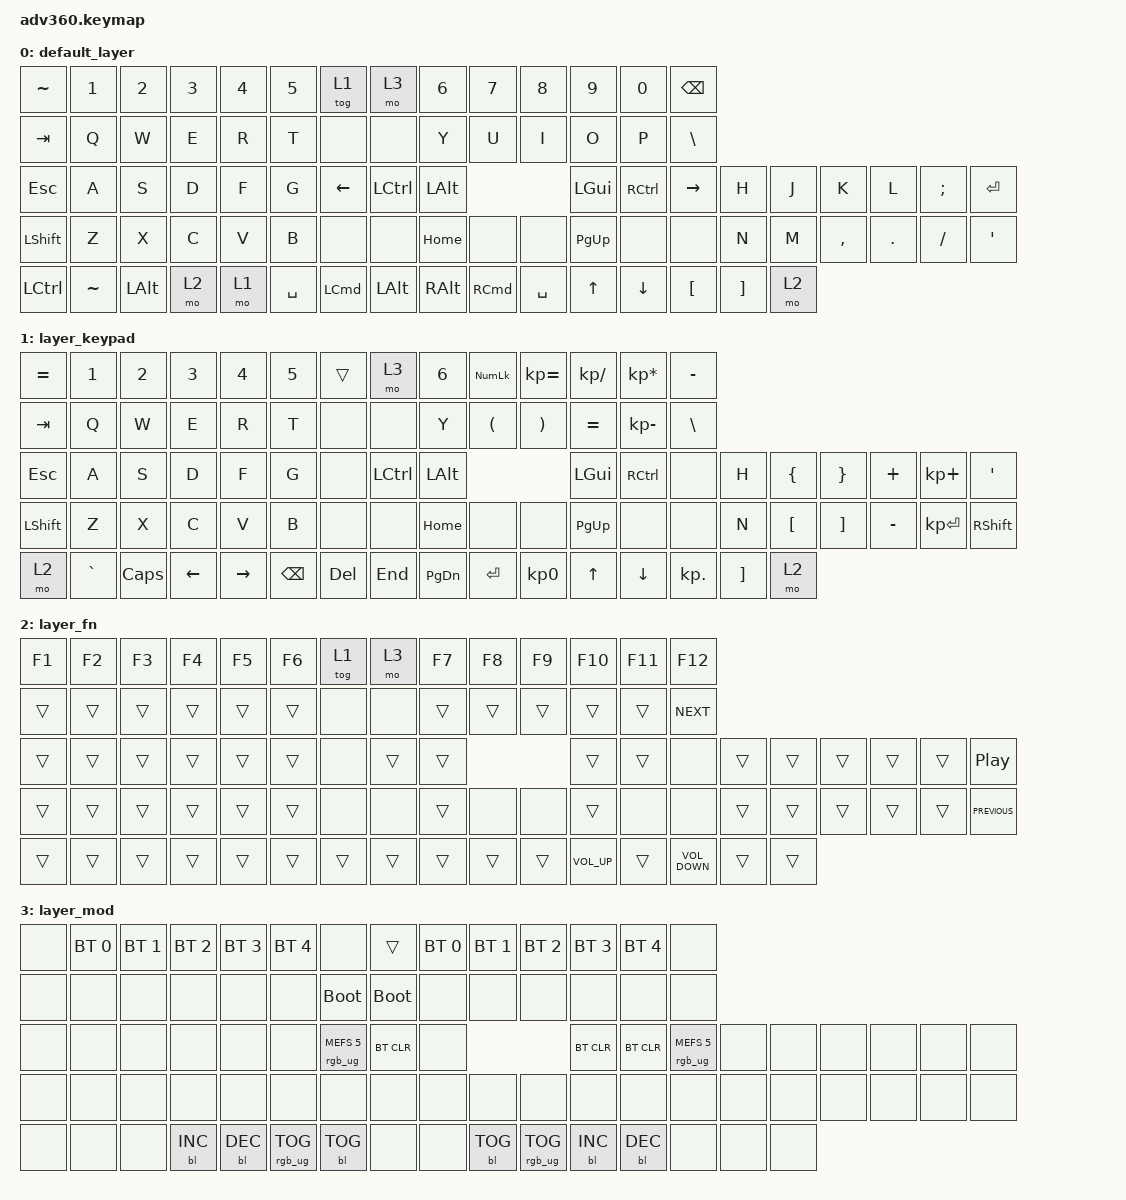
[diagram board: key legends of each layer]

/*
 * Copyright (c) 2020 The ZMK Contributors
 *
 * SPDX-License-Identifier: MIT
 */


/* THIS FILE WAS GENERATED!
 *
 * This file was generated automatically. You may or may not want to
 * edit it directly.
 */

#include <behaviors.dtsi>
#include <dt-bindings/zmk/keys.h>
#include <dt-bindings/zmk/bt.h>
#include <dt-bindings/zmk/rgb.h>
#include <dt-bindings/zmk/backlight.h>

/ {
    keymap {
        compatible = "zmk,keymap";


        default_layer {
            bindings = <
 &kp TILDE     &kp N1        &kp N2  &kp N3  &kp N4     &kp N5                      &tog 1         &mo 3         &kp N6             &kp N7     &kp N8     &kp N9     &kp N0    &kp BACKSPACE
   &kp TAB      &kp Q         &kp W   &kp E   &kp R      &kp T                       &none         &none          &kp Y              &kp U      &kp I      &kp O      &kp P         &kp BSLH
   &kp ESC      &kp A         &kp S   &kp D   &kp F      &kp G              &kp LEFT_ARROW     &kp LCTRL       &kp LALT                                 &kp LGUI  &kp RCTRL  &kp RIGHT_ARROW     &kp H   &kp J      &kp K    &kp L  &kp SEMI         &kp ENTER
 &kp LSHFT      &kp Z         &kp X   &kp C   &kp V      &kp B                       &none         &none       &kp HOME              &none      &none  &kp PG_UP      &none            &none     &kp N   &kp M  &kp COMMA  &kp DOT  &kp FSLH  &kp SINGLE_QUOTE
 &kp LCTRL  &kp TILDE  &kp LEFT_ALT   &mo 2   &mo 1  &kp SPACE            &kp LEFT_COMMAND  &kp LEFT_ALT  &kp RIGHT_ALT  &kp RIGHT_COMMAND  &kp SPACE     &kp UP   &kp DOWN         &kp LBKT  &kp RBKT   &mo 2
            >;
        };

        layer_keypad {
            bindings = <
 &kp EQUAL     &kp N1    &kp N2    &kp N3     &kp N4    &kp N5             &trans      &mo 3     &kp N6            &kp KP_NUM           &kp KP_EQUAL  &kp KP_DIVIDE  &kp KP_MULTIPLY   &kp MINUS
   &kp TAB      &kp Q     &kp W     &kp E      &kp R     &kp T              &none      &none      &kp Y  &kp LEFT_PARENTHESIS  &kp RIGHT_PARENTHESIS      &kp EQUAL     &kp KP_MINUS    &kp BSLH
   &kp ESC      &kp A     &kp S     &kp D      &kp F     &kp G              &none  &kp LCTRL   &kp LALT                                                    &kp LGUI        &kp RCTRL       &none     &kp H    &kp LEFT_BRACE    &kp RIGHT_BRACE   &kp PLUS   &kp KP_PLUS    &kp SQT
 &kp LSHFT      &kp Z     &kp X     &kp C      &kp V     &kp B              &none      &none   &kp HOME                 &none                  &none      &kp PG_UP            &none       &none     &kp N  &kp LEFT_BRACKET  &kp RIGHT_BRACKET  &kp MINUS  &kp KP_ENTER  &kp RSHFT
     &mo 2  &kp GRAVE  &kp CAPS  &kp LEFT  &kp RIGHT  &kp BSPC            &kp DEL    &kp END  &kp PG_DN             &kp ENTER              &kp KP_N0         &kp UP         &kp DOWN  &kp KP_DOT  &kp RBKT             &mo 2
            >;
        };

        layer_fn {
            bindings = <
 &kp F1  &kp F2  &kp F3  &kp F4  &kp F5  &kp F6            &tog 1   &mo 3  &kp F7  &kp F8  &kp F9          &kp F10  &kp F11            &kp F12
 &trans  &trans  &trans  &trans  &trans  &trans             &none   &none  &trans  &trans  &trans           &trans   &trans         &kp C_NEXT
 &trans  &trans  &trans  &trans  &trans  &trans             &none  &trans  &trans                           &trans   &trans              &none  &trans  &trans  &trans  &trans  &trans  &kp C_PLAY_PAUSE
 &trans  &trans  &trans  &trans  &trans  &trans             &none   &none  &trans   &none   &none           &trans    &none              &none  &trans  &trans  &trans  &trans  &trans    &kp C_PREVIOUS
 &trans  &trans  &trans  &trans  &trans  &trans            &trans  &trans  &trans  &trans  &trans  &kp C_VOLUME_UP   &trans  &kp C_VOLUME_DOWN  &trans  &trans
            >;
        };

        layer_mod {
            bindings = <
  &none  &bt BT_SEL 0  &bt BT_SEL 1  &bt BT_SEL 2  &bt BT_SEL 3     &bt BT_SEL 4                             &none       &trans  &bt BT_SEL 0  &bt BT_SEL 1     &bt BT_SEL 2  &bt BT_SEL 3  &bt BT_SEL 4                   &none
  &none         &none         &none         &none         &none            &none                       &bootloader  &bootloader         &none         &none            &none         &none         &none                   &none
  &none         &none         &none         &none         &none            &none            &rgb_ug RGB_MEFS_CMD 5   &bt BT_CLR         &none                                   &bt BT_CLR    &bt BT_CLR  &rgb_ug RGB_MEFS_CMD 5   &none   &none   &none   &none   &none   &none
  &none         &none         &none         &none         &none            &none                             &none        &none         &none         &none            &none         &none         &none                   &none   &none   &none   &none   &none   &none   &none
  &none         &none         &none    &bl BL_INC    &bl BL_DEC  &rgb_ug RGB_TOG                        &bl BL_TOG        &none         &none    &bl BL_TOG  &rgb_ug RGB_TOG    &bl BL_INC    &bl BL_DEC                   &none   &none   &none
            >;
        };

    };
};
